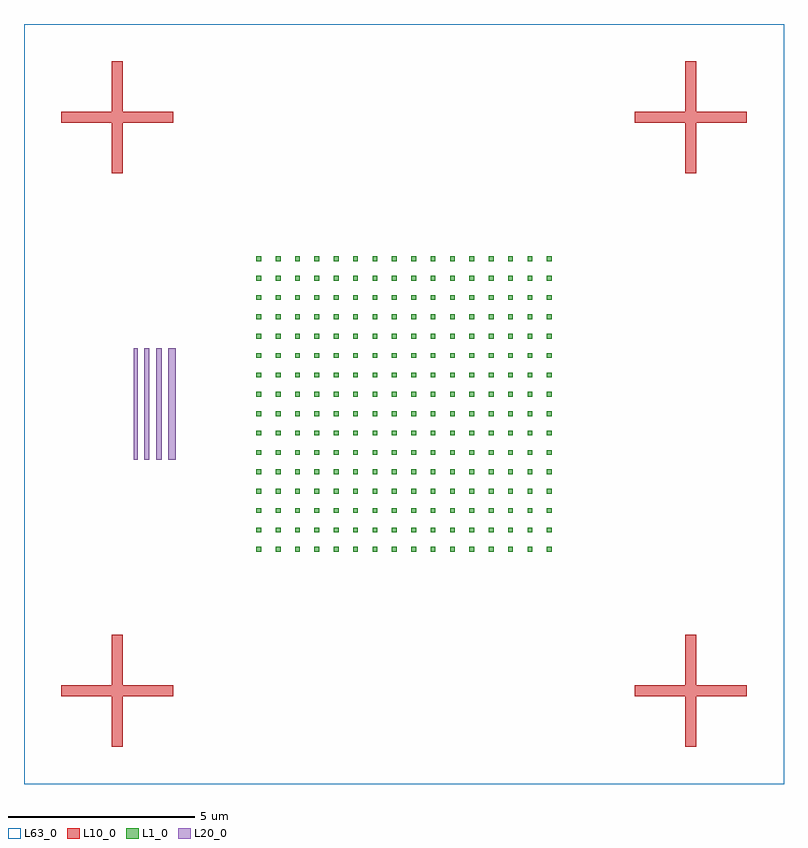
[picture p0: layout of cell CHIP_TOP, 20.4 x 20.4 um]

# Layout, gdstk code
import gdstk
lib = gdstk.Library(unit=1e-6, precision=1e-09)
def R(c, l, rs):  # rectangles x0, y0, x1, y1
    for r in rs: c.add(gdstk.rectangle(r[:2], r[2:], *l))
def A(c, l, x, y, w, h, nx, ny, dx, dy):  # array of equal rectangles
    R(c, l, [(x+i*dx, y+j*dy, x+i*dx+w, y+j*dy+h) for i in range(nx) for j in range(ny)])
L1_0 = (1, 0)
L10_0 = (10, 0)
L20_0 = (20, 0)
L63_0 = (63, 0)

chip_top = lib.new_cell('CHIP_TOP')
A(chip_top, L1_0, -3.965, -3.965, 0.13, 0.13, 16, 16, 0.52, 0.52)
R(chip_top, L10_0, [(-7.85,-9.2,-7.55,-6.2), (7.55,-9.2,7.85,-6.2), (-9.2,-7.85,-6.2,-7.55), (6.2,-7.85,9.2,-7.55), (-7.85,6.2,-7.55,9.2), (7.55,6.2,7.85,9.2), (-9.2,7.55,-6.2,7.85), (6.2,7.55,9.2,7.85)])
R(chip_top, L20_0, [(-7.252,-1.5,-7.148,1.5), (-6.966,-1.5,-6.836,1.5), (-6.654,-1.5,-6.498,1.5), (-6.322,-1.5,-6.128,1.5)])
R(chip_top, L63_0, [(-10.2,-10.2,10.2,10.2)])

lib.write_gds('CHIP_TOP.gds')
